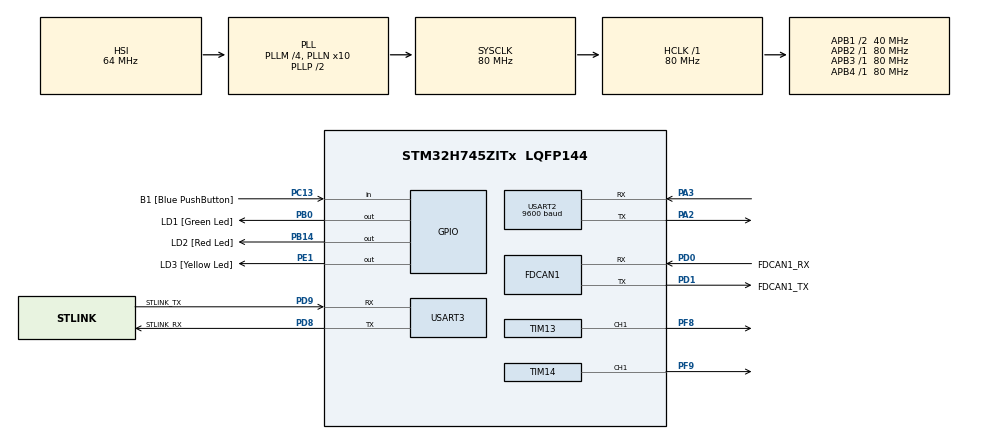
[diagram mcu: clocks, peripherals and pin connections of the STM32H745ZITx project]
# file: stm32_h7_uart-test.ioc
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CortexM4.IPs=BDMA,CORTEX_M4\:I,DEBUG,DMA,FATFS_M4\:I,FREERTOS_M4\:I,GPIO,IWDG2\:I,MDMA,NVIC2\:I,OPENAMP_M4\:I,PDM2PCM_M4\:I,PWR,RCC,RESMGR_UTILITY,SYS_M4\:I,USB_DEVICE_M4\:I,USB_HOST_M4\:I,VREFBUF,WWDG2\:I,USART3
CortexM4.Pins=PE1
CortexM7.IPs=BDMA\:I,CORTEX_M7\:I,DEBUG\:I,DMA\:I,FATFS_M7\:I,FREERTOS_M7\:I,GPIO\:I,IWDG1\:I,MDMA\:I,NVIC1\:I,OPENAMP_M7\:I,PDM2PCM_M7\:I,PWR\:I,RCC\:I,RESMGR_UTILITY\:I,SYS\:I,USB_DEVICE_M7\:I,USB_HOST_M7\:I,VREFBUF\:I,WWDG1\:I,USART3\:I,FDCAN1\:I,MEMORYMAP\:I,TIM13\:I,TIM14\:I,USART2\:I
CortexM7.Pins=PC13,PB0,PB14
FDCAN1.CalculateBaudRateNominal=500000
FDCAN1.CalculateTimeBitNominal=2000
FDCAN1.CalculateTimeQuantumNominal=50.0
FDCAN1.Mode=FDCAN_MODE_NORMAL
FDCAN1.NominalPrescaler=2
FDCAN1.NominalSyncJumpWidth=8
FDCAN1.NominalTimeSeg1=0x1F
FDCAN1.NominalTimeSeg2=8
FDCAN1.ProtocolException=ENABLE
FDCAN1.RxFifo0ElmtsNbr=50
FDCAN1.StdFiltersNbr=1
FDCAN1.TxFifoQueueElmtsNbr=1
Mcu.Family=STM32H7
Mcu.Name=STM32H745ZITx
Mcu.Package=LQFP144
NVIC1.PriorityGroup=NVIC_PRIORITYGROUP_4
NVIC1.USART2_IRQn=true\:0\:0\:false\:false\:true\:true\:true\:true
NVIC1.USART3_IRQn=true\:0\:0\:false\:false\:true\:true\:true\:true
NVIC2.PriorityGroup=NVIC_PRIORITYGROUP_4
PA13\ (JTMS/SWDIO).Mode=Serial_Wire
PA13\ (JTMS/SWDIO).PinAttribute=CortexM7
PA13\ (JTMS/SWDIO).Signal=DEBUG_JTMS-SWDIO
PA14\ (JTCK/SWCLK).Mode=Serial_Wire
PA14\ (JTCK/SWCLK).PinAttribute=CortexM7
PA14\ (JTCK/SWCLK).Signal=DEBUG_JTCK-SWCLK
PA2.Mode=Asynchronous
PA2.PinAttribute=CortexM7
PA2.Signal=USART2_TX
PA3.Mode=Asynchronous
PA3.PinAttribute=CortexM7
PA3.Signal=USART2_RX
PB0.GPIO_Label=LD1 [Green Led]
PB0.PinAttribute=CortexM7
PB0.Signal=GPIO_Output
PB14.GPIO_Label=LD2 [Red Led]
PB14.PinAttribute=CortexM7
PB14.Signal=GPIO_Output
PC13.GPIO_Label=B1 [Blue PushButton]
PC13.PinAttribute=CortexM7
PC13.Signal=GPIO_Input
PC14-OSC32_IN\ (OSC32_IN).Mode=LSE-External-Oscillator
PC14-OSC32_IN\ (OSC32_IN).PinAttribute=CortexM7
PC14-OSC32_IN\ (OSC32_IN).Signal=RCC_OSC32_IN
PC15-OSC32_OUT\ (OSC32_OUT).Mode=LSE-External-Oscillator
PC15-OSC32_OUT\ (OSC32_OUT).PinAttribute=CortexM7
PC15-OSC32_OUT\ (OSC32_OUT).Signal=RCC_OSC32_OUT
PD0.GPIO_Label=FDCAN1_RX
PD0.GPIO_Speed=GPIO_SPEED_FREQ_VERY_HIGH
PD0.Mode=FDCAN_Activate
PD0.PinAttribute=CortexM7
PD0.Signal=FDCAN1_RX
PD1.GPIO_Label=FDCAN1_TX
PD1.GPIO_PuPd=GPIO_PULLUP
PD1.GPIO_Speed=GPIO_SPEED_FREQ_VERY_HIGH
PD1.Mode=FDCAN_Activate
PD1.PinAttribute=CortexM7
PD1.Signal=FDCAN1_TX
PD8.GPIO_Label=STLINK_RX
PD8.Mode=Asynchronous
PD8.PinAttribute=CortexM7
PD8.Signal=USART3_TX
PD9.GPIO_Label=STLINK_TX
PD9.Mode=Asynchronous
PD9.PinAttribute=CortexM7
PD9.Signal=USART3_RX
PE1.GPIO_Label=LD3 [Yellow Led]
PE1.PinAttribute=CortexM4
PE1.Signal=GPIO_Output
PF8.PinAttribute=CortexM7
PF8.Signal=S_TIM13_CH1
PF9.PinAttribute=CortexM7
PF9.Signal=S_TIM14_CH1
PH0-OSC_IN\ (PH0).Mode=HSE-External-Clock-Source
PH0-OSC_IN\ (PH0).PinAttribute=CortexM7
PH0-OSC_IN\ (PH0).Signal=RCC_OSC_IN
ProjectManager.HeapSize=M4-0x200,M7-0x200
ProjectManager.StackSize=M4-0x400,M7-0x400
ProjectManager.TargetToolchain=STM32CubeIDE
RCC.ADCFreq_Value=72000000
RCC.APB1Freq_Value=40000000
RCC.APB2Freq_Value=80000000
RCC.APB3Freq_Value=80000000
RCC.APB4Freq_Value=80000000
RCC.CortexFreq_Value=80000000
RCC.D2PPRE1=RCC_APB1_DIV2
RCC.DIVM1=4
RCC.DIVM2=4
RCC.DIVN1=10
RCC.DIVN2=9
RCC.DIVQ1=4
RCC.HCLKFreq_Value=80000000
RCC.HSE_VALUE=8000000
RCC.PLLFRACN=0
RCC.SYSCLKFreq_VALUE=80000000
RCC.SYSCLKSource=RCC_SYSCLKSOURCE_PLLCLK
RCC.SupplySource=PWR_DIRECT_SMPS_SUPPLY
RCC.USBFreq_Value=40000000
SH.S_TIM13_CH1.0=TIM13_CH1,PWM Generation1 CH1
SH.S_TIM14_CH1.0=TIM14_CH1,PWM Generation1 CH1
SYS.userName=SYS_M7
TIM13.Channel=TIM_CHANNEL_1
TIM13.Period=19999
TIM13.Prescaler=79
TIM13.Pulse=1500
TIM14.Channel=TIM_CHANNEL_1
TIM14.Period=19999
TIM14.Prescaler=79
TIM14.Pulse=1500
USART2.BaudRate=9600
USART2.VirtualMode-Asynchronous=VM_ASYNC
USART3.VirtualMode-Asynchronous=VM_ASYNC
VP_MEMORYMAP_VS_MEMORYMAP.Mode=CurAppReg
VP_SYS_M4_VS_Systick.Mode=SysTick
VP_TIM13_VS_ClockSourceINT.Mode=Enable_Timer
VP_TIM14_VS_ClockSourceINT.Mode=Enable_Timer
board=custom

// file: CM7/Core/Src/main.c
/* USER CODE BEGIN Header */
/**
  ******************************************************************************
  * @file           : main.c
  * @brief          : Main program body
  ******************************************************************************
  * @attention
  *
  * Copyright (c) 2025 STMicroelectronics.
  * All rights reserved.
  *
  * This software is licensed under terms that can be found in the LICENSE file
  * in the root directory of this software component.
  * If no LICENSE file comes with this software, it is provided AS-IS.
  *
  ******************************************************************************
  */
/* USER CODE END Header */
#include "main.h"

/* USER CODE BEGIN Includes */
#include <string.h>
#define UART_MAILBOX_IMPL     // <-- defines the implementation once
#include "uart_mailbox.h"
/* USER CODE END Includes */

/* USER CODE BEGIN PD */

/* DUAL_CORE_BOOT_SYNC_SEQUENCE: Define for dual core boot synchronization    */
/*                             demonstration code based on hardware semaphore */
/* This define is present in both CM7/CM4 projects                            */
/* To comment when developping/debugging on a single core                     */
#define DUAL_CORE_BOOT_SYNC_SEQUENCE

#if defined(DUAL_CORE_BOOT_SYNC_SEQUENCE)
#ifndef HSEM_ID_0
#define HSEM_ID_0 (0U) /* HW semaphore 0*/
#endif
#endif /* DUAL_CORE_BOOT_SYNC_SEQUENCE */

/* USER CODE END PD */

FDCAN_HandleTypeDef hfdcan1;

TIM_HandleTypeDef htim13;
TIM_HandleTypeDef htim14;

UART_HandleTypeDef huart2;
UART_HandleTypeDef huart3;

/* USER CODE BEGIN PV */
static uart_mb_t *g_mb = NULL;   // <-- app-owned “global”
/* USER CODE END PV */

void SystemClock_Config(void);
static void MX_GPIO_Init(void);
static void MX_USART3_UART_Init(void);
static void MX_FDCAN1_Init(void);
static void MX_TIM13_Init(void);
static void MX_TIM14_Init(void);
static void MX_USART2_UART_Init(void);

/* USER CODE BEGIN 0 */
void echo() {
	uart_mb_t *mb = g_mb;
    const char *hello = "Mailbox echo ready\r\n";
    HAL_UART_Transmit(mb->huart, (uint8_t*)hello, strlen(hello), HAL_MAX_DELAY);

    uint8_t b;
    for (;;) {
        while (uart_mb_get(mb, &b)) {
            HAL_UART_Transmit(mb->huart, &b, 1, HAL_MAX_DELAY);
        }
        HAL_Delay(2);
    }
}

/* USER CODE END 0 */

int main(void)
{

/* USER CODE BEGIN Boot_Mode_Sequence_0 */
#if defined(DUAL_CORE_BOOT_SYNC_SEQUENCE)
  int32_t timeout;
#endif /* DUAL_CORE_BOOT_SYNC_SEQUENCE */
/* USER CODE END Boot_Mode_Sequence_0 */

/* USER CODE BEGIN Boot_Mode_Sequence_1 */
#if defined(DUAL_CORE_BOOT_SYNC_SEQUENCE)
  /* Wait until CPU2 boots and enters in stop mode or timeout*/
  timeout = 0xFFFF;
//  while((__HAL_RCC_GET_FLAG(RCC_FLAG_D2CKRDY) != RESET) && (timeout-- > 0));
  if ( timeout < 0 )
  {
  Error_Handler();
  }
#endif /* DUAL_CORE_BOOT_SYNC_SEQUENCE */
/* USER CODE END Boot_Mode_Sequence_1 */
  /* MCU Configuration--------------------------------------------------------*/

  /* Reset of all peripherals, Initializes the Flash interface and the Systick. */
  HAL_Init();

  /* Configure the system clock */
  SystemClock_Config();
/* USER CODE BEGIN Boot_Mode_Sequence_2 */
#if defined(DUAL_CORE_BOOT_SYNC_SEQUENCE)
/* When system initialization is finished, Cortex-M7 will release Cortex-M4 by means of
HSEM notification */
/*HW semaphore Clock enable*/
__HAL_RCC_HSEM_CLK_ENABLE();
/*Take HSEM */
HAL_HSEM_FastTake(HSEM_ID_0);
/*Release HSEM in order to notify the CPU2(CM4)*/
HAL_HSEM_Release(HSEM_ID_0,0);
/* wait until CPU2 wakes up from stop mode */
timeout = 0xFFFF;
while((__HAL_RCC_GET_FLAG(RCC_FLAG_D2CKRDY) == RESET) && (timeout-- > 0));
if ( timeout < 0 )
{
Error_Handler();
}
#endif /* DUAL_CORE_BOOT_SYNC_SEQUENCE */
/* USER CODE END Boot_Mode_Sequence_2 */

  /* Initialize all configured peripherals */
  MX_GPIO_Init();
  MX_USART3_UART_Init();
  MX_FDCAN1_Init();
  MX_TIM13_Init();
  MX_TIM14_Init();
  MX_USART2_UART_Init();
  /* USER CODE BEGIN 2 */
//  HAL_UART_IRQHandler(&huart3);
  uart_mb_register(&huart3, &g_mb);  // choose which UART feeds the global mailbox
  echo();                             // loop drains g_mb and echoes everything
//  hello();
  /* USER CODE END 2 */

  /* Infinite loop */
  while (1)
  {

  }
}

void SystemClock_Config(void)
{
  RCC_OscInitTypeDef RCC_OscInitStruct = {0};
  RCC_ClkInitTypeDef RCC_ClkInitStruct = {0};

  /** Supply configuration update enable
  */
  HAL_PWREx_ConfigSupply(PWR_DIRECT_SMPS_SUPPLY);

  /** Configure the main internal regulator output voltage
  */
  __HAL_PWR_VOLTAGESCALING_CONFIG(PWR_REGULATOR_VOLTAGE_SCALE3);

  while(!__HAL_PWR_GET_FLAG(PWR_FLAG_VOSRDY)) {}

  /** Initializes the RCC Oscillators according to the specified parameters
  * in the RCC_OscInitTypeDef structure.
  */
  RCC_OscInitStruct.OscillatorType = RCC_OSCILLATORTYPE_HSI;
  RCC_OscInitStruct.HSIState = RCC_HSI_DIV1;
  RCC_OscInitStruct.HSICalibrationValue = RCC_HSICALIBRATION_DEFAULT;
  RCC_OscInitStruct.PLL.PLLState = RCC_PLL_ON;
  RCC_OscInitStruct.PLL.PLLSource = RCC_PLLSOURCE_HSI;
  RCC_OscInitStruct.PLL.PLLM = 4;
  RCC_OscInitStruct.PLL.PLLN = 10;
  RCC_OscInitStruct.PLL.PLLP = 2;
  RCC_OscInitStruct.PLL.PLLQ = 4;
  RCC_OscInitStruct.PLL.PLLR = 2;
  RCC_OscInitStruct.PLL.PLLRGE = RCC_PLL1VCIRANGE_3;
  RCC_OscInitStruct.PLL.PLLVCOSEL = RCC_PLL1VCOMEDIUM;
  RCC_OscInitStruct.PLL.PLLFRACN = 0;
  if (HAL_RCC_OscConfig(&RCC_OscInitStruct) != HAL_OK)
  {
    Error_Handler();
  }

  /** Initializes the CPU, AHB and APB buses clocks
  */
  RCC_ClkInitStruct.ClockType = RCC_CLOCKTYPE_HCLK|RCC_CLOCKTYPE_SYSCLK
                              |RCC_CLOCKTYPE_PCLK1|RCC_CLOCKTYPE_PCLK2
                              |RCC_CLOCKTYPE_D3PCLK1|RCC_CLOCKTYPE_D1PCLK1;
  RCC_ClkInitStruct.SYSCLKSource = RCC_SYSCLKSOURCE_PLLCLK;
  RCC_ClkInitStruct.SYSCLKDivider = RCC_SYSCLK_DIV1;
  RCC_ClkInitStruct.AHBCLKDivider = RCC_HCLK_DIV1;
  RCC_ClkInitStruct.APB3CLKDivider = RCC_APB3_DIV1;
  RCC_ClkInitStruct.APB1CLKDivider = RCC_APB1_DIV2;
  RCC_ClkInitStruct.APB2CLKDivider = RCC_APB2_DIV1;
  RCC_ClkInitStruct.APB4CLKDivider = RCC_APB4_DIV1;

  if (HAL_RCC_ClockConfig(&RCC_ClkInitStruct, FLASH_LATENCY_1) != HAL_OK)
  {
    Error_Handler();
  }
}

static void MX_FDCAN1_Init(void)
{

  hfdcan1.Instance = FDCAN1;
  hfdcan1.Init.FrameFormat = FDCAN_FRAME_CLASSIC;
  hfdcan1.Init.Mode = FDCAN_MODE_NORMAL;
  hfdcan1.Init.AutoRetransmission = DISABLE;
  hfdcan1.Init.TransmitPause = DISABLE;
  hfdcan1.Init.ProtocolException = ENABLE;
  hfdcan1.Init.NominalPrescaler = 2;
  hfdcan1.Init.NominalSyncJumpWidth = 8;
  hfdcan1.Init.NominalTimeSeg1 = 0x1F;
  hfdcan1.Init.NominalTimeSeg2 = 8;
  hfdcan1.Init.DataPrescaler = 1;
  hfdcan1.Init.DataSyncJumpWidth = 1;
  hfdcan1.Init.DataTimeSeg1 = 1;
  hfdcan1.Init.DataTimeSeg2 = 1;
  hfdcan1.Init.MessageRAMOffset = 0;
  hfdcan1.Init.StdFiltersNbr = 1;
  hfdcan1.Init.ExtFiltersNbr = 0;
  hfdcan1.Init.RxFifo0ElmtsNbr = 50;
  hfdcan1.Init.RxFifo0ElmtSize = FDCAN_DATA_BYTES_8;
  hfdcan1.Init.RxFifo1ElmtsNbr = 0;
  hfdcan1.Init.RxFifo1ElmtSize = FDCAN_DATA_BYTES_8;
  hfdcan1.Init.RxBuffersNbr = 0;
  hfdcan1.Init.RxBufferSize = FDCAN_DATA_BYTES_8;
  hfdcan1.Init.TxEventsNbr = 0;
  hfdcan1.Init.TxBuffersNbr = 0;
  hfdcan1.Init.TxFifoQueueElmtsNbr = 1;
  hfdcan1.Init.TxFifoQueueMode = FDCAN_TX_FIFO_OPERATION;
  hfdcan1.Init.TxElmtSize = FDCAN_DATA_BYTES_8;
  if (HAL_FDCAN_Init(&hfdcan1) != HAL_OK)
  {
    Error_Handler();
  }

}

static void MX_TIM13_Init(void)
{

  TIM_OC_InitTypeDef sConfigOC = {0};

  htim13.Instance = TIM13;
  htim13.Init.Prescaler = 79;
  htim13.Init.CounterMode = TIM_COUNTERMODE_UP;
  htim13.Init.Period = 19999;
  htim13.Init.ClockDivision = TIM_CLOCKDIVISION_DIV1;
  htim13.Init.AutoReloadPreload = TIM_AUTORELOAD_PRELOAD_DISABLE;
  if (HAL_TIM_Base_Init(&htim13) != HAL_OK)
  {
    Error_Handler();
  }
  if (HAL_TIM_PWM_Init(&htim13) != HAL_OK)
  {
    Error_Handler();
  }
  sConfigOC.OCMode = TIM_OCMODE_PWM1;
  sConfigOC.Pulse = 1500;
  sConfigOC.OCPolarity = TIM_OCPOLARITY_HIGH;
  sConfigOC.OCFastMode = TIM_OCFAST_DISABLE;
  if (HAL_TIM_PWM_ConfigChannel(&htim13, &sConfigOC, TIM_CHANNEL_1) != HAL_OK)
  {
    Error_Handler();
  }
  HAL_TIM_MspPostInit(&htim13);

}

static void MX_TIM14_Init(void)
{

  TIM_OC_InitTypeDef sConfigOC = {0};

  htim14.Instance = TIM14;
  htim14.Init.Prescaler = 79;
  htim14.Init.CounterMode = TIM_COUNTERMODE_UP;
  htim14.Init.Period = 19999;
  htim14.Init.ClockDivision = TIM_CLOCKDIVISION_DIV1;
  htim14.Init.AutoReloadPreload = TIM_AUTORELOAD_PRELOAD_DISABLE;
  if (HAL_TIM_Base_Init(&htim14) != HAL_OK)
  {
    Error_Handler();
  }
  if (HAL_TIM_PWM_Init(&htim14) != HAL_OK)
  {
    Error_Handler();
  }
  sConfigOC.OCMode = TIM_OCMODE_PWM1;
  sConfigOC.Pulse = 1500;
  sConfigOC.OCPolarity = TIM_OCPOLARITY_HIGH;
  sConfigOC.OCFastMode = TIM_OCFAST_DISABLE;
  if (HAL_TIM_PWM_ConfigChannel(&htim14, &sConfigOC, TIM_CHANNEL_1) != HAL_OK)
  {
    Error_Handler();
  }
  HAL_TIM_MspPostInit(&htim14);

}

static void MX_USART2_UART_Init(void)
{

  huart2.Instance = USART2;
  huart2.Init.BaudRate = 9600;
  huart2.Init.WordLength = UART_WORDLENGTH_8B;
  huart2.Init.StopBits = UART_STOPBITS_1;
  huart2.Init.Parity = UART_PARITY_NONE;
  huart2.Init.Mode = UART_MODE_TX_RX;
  huart2.Init.HwFlowCtl = UART_HWCONTROL_NONE;
  huart2.Init.OverSampling = UART_OVERSAMPLING_16;
  huart2.Init.OneBitSampling = UART_ONE_BIT_SAMPLE_DISABLE;
  huart2.Init.ClockPrescaler = UART_PRESCALER_DIV1;
  huart2.AdvancedInit.AdvFeatureInit = UART_ADVFEATURE_NO_INIT;
  if (HAL_UART_Init(&huart2) != HAL_OK)
  {
    Error_Handler();
  }
  if (HAL_UARTEx_SetTxFifoThreshold(&huart2, UART_TXFIFO_THRESHOLD_1_8) != HAL_OK)
  {
    Error_Handler();
  }
  if (HAL_UARTEx_SetRxFifoThreshold(&huart2, UART_RXFIFO_THRESHOLD_1_8) != HAL_OK)
  {
    Error_Handler();
  }
  if (HAL_UARTEx_DisableFifoMode(&huart2) != HAL_OK)
  {
    Error_Handler();
  }

}

static void MX_USART3_UART_Init(void)
{

  huart3.Instance = USART3;
  huart3.Init.BaudRate = 115200;
  huart3.Init.WordLength = UART_WORDLENGTH_8B;
  huart3.Init.StopBits = UART_STOPBITS_1;
  huart3.Init.Parity = UART_PARITY_NONE;
  huart3.Init.Mode = UART_MODE_TX_RX;
  huart3.Init.HwFlowCtl = UART_HWCONTROL_NONE;
  huart3.Init.OverSampling = UART_OVERSAMPLING_16;
  huart3.Init.OneBitSampling = UART_ONE_BIT_SAMPLE_DISABLE;
  huart3.Init.ClockPrescaler = UART_PRESCALER_DIV1;
  huart3.AdvancedInit.AdvFeatureInit = UART_ADVFEATURE_NO_INIT;
  if (HAL_UART_Init(&huart3) != HAL_OK)
  {
    Error_Handler();
  }
  if (HAL_UARTEx_SetTxFifoThreshold(&huart3, UART_TXFIFO_THRESHOLD_1_8) != HAL_OK)
  {
    Error_Handler();
  }
  if (HAL_UARTEx_SetRxFifoThreshold(&huart3, UART_RXFIFO_THRESHOLD_1_8) != HAL_OK)
  {
    Error_Handler();
  }
  if (HAL_UARTEx_DisableFifoMode(&huart3) != HAL_OK)
  {
    Error_Handler();
  }

}

static void MX_GPIO_Init(void)
{
  GPIO_InitTypeDef GPIO_InitStruct = {0};

  /* GPIO Ports Clock Enable */
  __HAL_RCC_GPIOC_CLK_ENABLE();
  __HAL_RCC_GPIOF_CLK_ENABLE();
  __HAL_RCC_GPIOH_CLK_ENABLE();
  __HAL_RCC_GPIOA_CLK_ENABLE();
  __HAL_RCC_GPIOB_CLK_ENABLE();
  __HAL_RCC_GPIOD_CLK_ENABLE();

  /*Configure GPIO pin Output Level */
  HAL_GPIO_WritePin(GPIOB, LD1_Pin|LD2_Pin, GPIO_PIN_RESET);

  /*Configure GPIO pin : B1_Pin */
  GPIO_InitStruct.Pin = B1_Pin;
  GPIO_InitStruct.Mode = GPIO_MODE_INPUT;
  GPIO_InitStruct.Pull = GPIO_NOPULL;
  HAL_GPIO_Init(B1_GPIO_Port, &GPIO_InitStruct);

  /*Configure GPIO pins : LD1_Pin LD2_Pin */
  GPIO_InitStruct.Pin = LD1_Pin|LD2_Pin;
  GPIO_InitStruct.Mode = GPIO_MODE_OUTPUT_PP;
  GPIO_InitStruct.Pull = GPIO_NOPULL;
  GPIO_InitStruct.Speed = GPIO_SPEED_FREQ_LOW;
  HAL_GPIO_Init(GPIOB, &GPIO_InitStruct);

}

void Error_Handler(void)
{
  __disable_irq();
  while (1)
  {
  }
}
